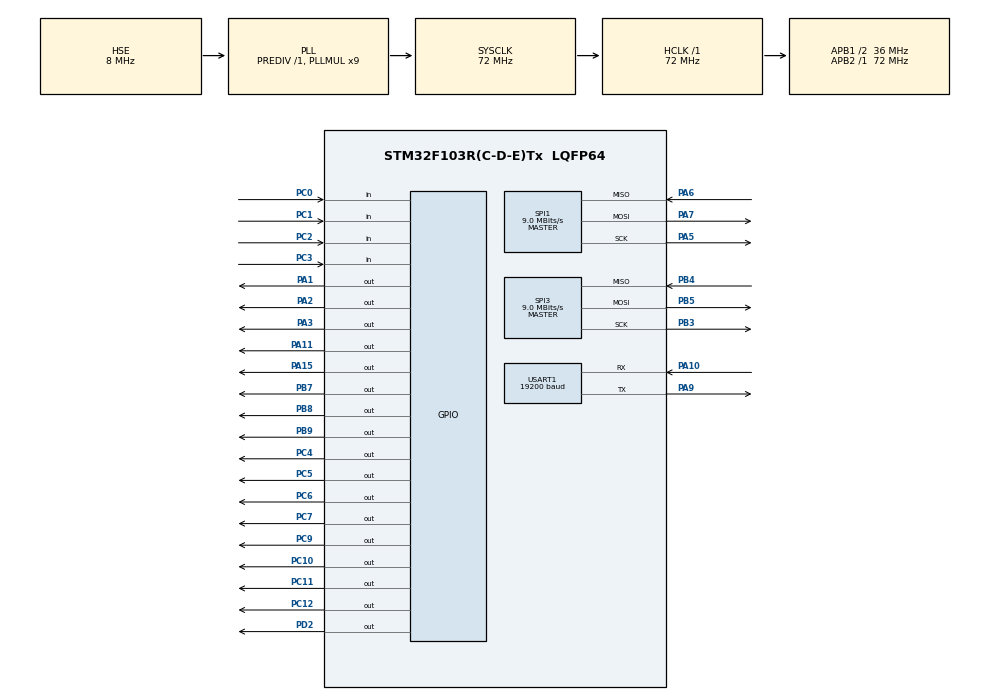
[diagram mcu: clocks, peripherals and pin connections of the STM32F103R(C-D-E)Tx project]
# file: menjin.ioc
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Mcu.Family=STM32F1
Mcu.Name=STM32F103R(C-D-E)Tx
Mcu.Package=LQFP64
NVIC.PriorityGroup=NVIC_PRIORITYGROUP_4
NVIC.RTC_IRQn=true\:0\:0\:false\:false\:true\:true\:true
NVIC.SPI1_IRQn=true\:6\:0\:true\:false\:true\:true\:true
NVIC.SPI3_IRQn=true\:5\:0\:true\:false\:true\:true\:true
NVIC.USART1_IRQn=true\:0\:0\:true\:false\:true\:true\:true
PA1.Signal=GPIO_Output
PA10.GPIO_PuPd=GPIO_NOPULL
PA10.Mode=Asynchronous
PA10.Signal=USART1_RX
PA11.GPIO_PuPd=GPIO_NOPULL
PA11.PinState=GPIO_PIN_RESET
PA11.Signal=GPIO_Output
PA13.Mode=Serial_Wire
PA13.Signal=SYS_JTMS-SWDIO
PA14.Mode=Serial_Wire
PA14.Signal=SYS_JTCK-SWCLK
PA15.PinState=GPIO_PIN_SET
PA15.Signal=GPIO_Output
PA2.Signal=GPIO_Output
PA3.Signal=GPIO_Output
PA5.Mode=Full_Duplex_Master
PA5.Signal=SPI1_SCK
PA6.Mode=Full_Duplex_Master
PA6.Signal=SPI1_MISO
PA7.Mode=Full_Duplex_Master
PA7.Signal=SPI1_MOSI
PA9.Mode=Asynchronous
PA9.Signal=USART1_TX
PB3.Mode=Full_Duplex_Master
PB3.Signal=SPI3_SCK
PB4.Mode=Full_Duplex_Master
PB4.Signal=SPI3_MISO
PB5.Mode=Full_Duplex_Master
PB5.Signal=SPI3_MOSI
PB7.PinState=GPIO_PIN_SET
PB7.Signal=GPIO_Output
PB8.PinState=GPIO_PIN_SET
PB8.Signal=GPIO_Output
PB9.PinState=GPIO_PIN_SET
PB9.Signal=GPIO_Output
PC0.Signal=GPIO_Input
PC1.Signal=GPIO_Input
PC10.PinState=GPIO_PIN_SET
PC10.Signal=GPIO_Output
PC11.PinState=GPIO_PIN_SET
PC11.Signal=GPIO_Output
PC12.Signal=GPIO_Output
PC14-OSC32_IN.Mode=LSE-External-Oscillator
PC14-OSC32_IN.Signal=RCC_OSC32_IN
PC15-OSC32_OUT.Mode=LSE-External-Oscillator
PC15-OSC32_OUT.Signal=RCC_OSC32_OUT
PC2.Signal=GPIO_Input
PC3.Signal=GPIO_Input
PC4.PinState=GPIO_PIN_SET
PC4.Signal=GPIO_Output
PC5.PinState=GPIO_PIN_SET
PC5.Signal=GPIO_Output
PC6.PinState=GPIO_PIN_SET
PC6.Signal=GPIO_Output
PC7.Signal=GPIO_Output
PC9.Signal=GPIO_Output
PD0-OSC_IN.Mode=HSE-External-Oscillator
PD0-OSC_IN.Signal=RCC_OSC_IN
PD1-OSC_OUT.Mode=HSE-External-Oscillator
PD1-OSC_OUT.Signal=RCC_OSC_OUT
PD2.PinState=GPIO_PIN_RESET
PD2.Signal=GPIO_Output
ProjectManager.HeapSize=0x200
ProjectManager.StackSize=0x400
ProjectManager.TargetToolchain=MDK-ARM V5
RCC.AHBFreq_Value=72000000
RCC.APB1CLKDivider=RCC_HCLK_DIV2
RCC.APB1Freq_Value=36000000
RCC.APB1TimFreq_Value=72000000
RCC.APB2Freq_Value=72000000
RCC.APB2TimFreq_Value=72000000
RCC.HCLKFreq_Value=72000000
RCC.PLLMUL=RCC_PLL_MUL9
RCC.PLLSourceVirtual=RCC_PLLSOURCE_HSE
RCC.RTCClockSelection=RCC_RTCCLKSOURCE_LSE
RCC.SYSCLKFreq_VALUE=72000000
RCC.SYSCLKSource=RCC_SYSCLKSOURCE_PLLCLK
RCC.USBFreq_Value=72000000
RTC.Date=3
RTC.Month=RTC_MONTH_MAY
RTC.WeekDay=RTC_WEEKDAY_MONDAY
RTC.Year=21
SPI1.BaudRatePrescaler=SPI_BAUDRATEPRESCALER_8
SPI1.CalculateBaudRate=9.0 MBits/s
SPI1.Direction=SPI_DIRECTION_2LINES
SPI1.Mode=SPI_MODE_MASTER
SPI1.VirtualType=VM_MASTER
SPI3.BaudRatePrescaler=SPI_BAUDRATEPRESCALER_4
SPI3.CalculateBaudRate=9.0 MBits/s
SPI3.Direction=SPI_DIRECTION_2LINES
SPI3.Mode=SPI_MODE_MASTER
SPI3.VirtualType=VM_MASTER
USART1.BaudRate=19200
USART1.VirtualMode=VM_ASYNC
VP_RTC_VS_RTC_Activate.Mode=RTC_Enabled
VP_RTC_VS_RTC_Calendar.Mode=RTC_Calendar
board=custom

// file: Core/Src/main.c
/* USER CODE BEGIN Header */
/**
  ******************************************************************************
  * @file           : main.c
  * @brief          : Main program body
  ******************************************************************************
  * @attention
  *
  * <h2><center>&copy; Copyright (c) 2021 STMicroelectronics.
  * All rights reserved.</center></h2>
  *
  * This software component is licensed by ST under BSD 3-Clause license,
  * the "License"; You may not use this file except in compliance with the
  * License. You may obtain a copy of the License at:
  *                        opensource.org/licenses/BSD-3-Clause
  *
  ******************************************************************************
  */

/***************************************************************
Copyright  SIEE OF HUE All rights reserved.
文件名		: main.c
作者	  	: 张博钊
版本	   	: V1.0
描述	   	: 主函数、初始化
其他	   	: 无
电话 	   	: 13229321127
日志	   	: 初版V1.0 2021/4/23 张博钊创建
***************************************************************/

/* USER CODE END Header */
#include "main.h"

/* USER CODE BEGIN Includes */
#include "rc522.h"
#include "communication.h"
#include "key.h"
#include "lcd.h"
#include "gui.h"
#include "stmflash.h"

/* USER CODE END Includes */

RTC_HandleTypeDef hrtc;

SPI_HandleTypeDef hspi1;
SPI_HandleTypeDef hspi3;

UART_HandleTypeDef huart1;

void SystemClock_Config(void);
void day_night_judge(void);
static void MX_GPIO_Init(void);
static void MX_SPI1_Init(void);
static void MX_SPI3_Init(void);
static void MX_USART1_UART_Init(void);
static void MX_RTC_Init(void);

/* USER CODE BEGIN 0 */
RTC_TimeTypeDef Time = {0};
RTC_DateTypeDef Date = {0};
unsigned int car_num;
unsigned char lcd_switch_flag = 0;//LCD开关标志位  0：灭 1：常量 2：亮一分钟
char lcd_switch_min = 100;//记录按下按键时的分钟
extern uint8_t rec_done_flag;
extern LORA_COM lora_com;
extern uint8_t net_id;
extern unsigned char temp[4];
extern unsigned char set_password_flag;
extern unsigned char adjust_time_flag;

/* USER CODE END 0 */

int main(void)
{
  /* USER CODE BEGIN 1 */
	unsigned char get_time_err = 0;//获取时间错误次数
	unsigned char get_time_flag = 0;//LCD显示时间或主界面标志位
	unsigned char key_value;//键值
	unsigned char get_time_send[9] = {0xaa,0x00,0x00,0x07,0x08,0x08,0x93,0xc7,0x55};//获取时间协议帧
  unsigned char string[50];//LCD显示字符串变量
	unsigned int 	times;//延时时间变量
  /* USER CODE END 1 */

  /* MCU Configuration--------------------------------------------------------*/

  /* Reset of all peripherals, Initializes the Flash interface and the Systick. */
  HAL_Init();

  /* Configure the system clock */
  SystemClock_Config();

  /* Initialize all configured peripherals */
  MX_GPIO_Init();
  MX_SPI1_Init();
  MX_SPI3_Init();
  MX_USART1_UART_Init();
  MX_RTC_Init();
  /* USER CODE BEGIN 2 */
	flash_init();
	rc522_init();
	LCD_Init();	//液晶屏初始化
	HAL_GPIO_WritePin(GPIOC, GPIO_PIN_9, GPIO_PIN_RESET);
	net_id = read_netid();
	get_time_send[2] = net_id;
	__HAL_UART_ENABLE_IT(&huart1,UART_IT_RXNE);
	HAL_Delay(200);
	LCD_Clear(BLACK);
  /* USER CODE END 2 */

  /* Infinite loop */
  while (1)
  {

    /* USER CODE BEGIN 3 */
		HAL_Delay(10);
		times++;
		if(times%10 == 0)//指示运行灯
		{
			if(HAL_GPIO_ReadPin(GPIOB,GPIO_PIN_9) == GPIO_PIN_RESET)
				HAL_GPIO_WritePin(GPIOB, GPIO_PIN_9, GPIO_PIN_SET);
			else
				HAL_GPIO_WritePin(GPIOB, GPIO_PIN_9, GPIO_PIN_RESET);

		}

		if(!adjust_time_flag&&net_id != 0xff)//开机获取时间 若15秒内未校准，则校准超时，不再主动获取时间 若未配置网络号，不查询
		{
				if(get_time_flag)//如果此设备未配置设备地址，但上电后配置了
				{
					get_time_send[2] = net_id;
					get_time_flag = 0; //显示获取时间界面
					LCD_Clear(BLACK);
				}
				Gui_StrCenter(0,60,WHITE,BLACK,"get time...",16,0);

				for(uint8_t i = 0; i< 9; i++)
					printf("%c",get_time_send[i]);

				HAL_Delay(1000);
				HAL_Delay(1000);
				HAL_Delay(1000);
				HAL_Delay(1000);
				HAL_Delay(1000);

					get_time_err++;

			if(get_time_err > 5)
			{
				LCD_Clear(BLACK);
				Gui_StrCenter(0,60,WHITE,BLACK,"get time error!",16,0);
				HAL_Delay(1000);
				adjust_time_flag = 1;//开机调整时间功能结束
			}
		}
		else//已经校准了时间:获取RTC时间并显示在LCD屏上
		{
			if(!get_time_flag) //清屏 显示主界面
			{
				display_main_gui();
				get_time_flag = 1;
			}

			if(times%20)
			{
				HAL_RTC_GetTime(&hrtc, &Time, RTC_FORMAT_BCD);//获取RTC时间
				HAL_RTC_GetDate(&hrtc, &Date, RTC_FORMAT_BCD);//获取RTC日期

				day_night_judge();

				if(set_password_flag == 0 && lcd_switch_flag)
				{
					sprintf(string,"%02x",Time.Hours);
					Show_Str(50,40,WHITE,BLACK,string,80,0);

					Show_Str(130,30,WHITE,BLACK,":",80,0);

					sprintf(string,"%02x",Time.Minutes);
					Show_Str(170,40,WHITE,BLACK,string,80,0);

					sprintf(string,"%02x",Time.Seconds);
					Show_Str(260,76,WHITE,BLACK,string,32,0);

					sprintf(string,"20%02x-%02x-%02x",Date.Year, Date.Month, Date.Date);
					Show_Str(10,220,WHITE,BLACK,string,16,0);
					display_week(Date.WeekDay);
				}
			}
		}

		if(rc522_work(&car_num))//轮询读卡
		{
			set_password_flag = 0;

			data_led();
			//printf("read car num10: %u\r\n", car_num);//打印10进制卡号
			//printf("read car num16: %02x %02x %02x %02x\r\n", temp[0],temp[1],temp[2],temp[3]);//打印16进制卡号

			if(search_cardid(car_num))//如果flash中有这个卡号
			{
				lock_control(1);//1:开门
				send_cardid(0);//0:succeed
				//printf("door open");
			}
			else//没有这个卡号
			{
				beep(0);//0：响三声
				send_cardid(1);//1:fail
				lcd_switch(1);//亮屏
				LCD_Clear(BLACK);
				Gui_StrCenter(0,60,WHITE,BLACK,"Unknown car",FRONT_SIZE,0);
				//printf("unknown cardid");
				HAL_Delay(1000);
				display_main_gui();
			}

		}

		if(rec_done_flag)//接收到lora数据
		{
			lora_cmd_judge(&lora_com);//处理lora接收到的数据
			rec_done_flag = 0;
			data_led();
		}

		if(set_password_flag == 0) //如果在主界面 扫描按键
		{
			key_value = key_scan();//获取键值
			if(key_value != 0x0d)//如果按下 蜂鸣器响
			{
			 if(!lcd_switch_flag) //如果在黑屏时按下
			 {
				lcd_switch_flag = 2;
				lcd_switch_min  = Time.Minutes;
			 }
			 HAL_GPIO_WritePin(GPIOC, GPIO_PIN_12, GPIO_PIN_SET);
				HAL_Delay(100);
			 HAL_GPIO_WritePin(GPIOC, GPIO_PIN_12, GPIO_PIN_RESET);
			}
			 manage_key_value(key_value);//处理键值
		}

		if(set_password_flag == 1)//如果在密码操作界面 扫描按键
		{
			key_value = key_scan();//获取键值
			if(key_value != 0x0d)//如果按下 蜂鸣器响
			{
			 if(!lcd_switch_flag) //如果在黑屏时按下
			 {
				lcd_switch_flag = 2;
				lcd_switch_min  = Time.Minutes;
			 }
			 HAL_GPIO_WritePin(GPIOC, GPIO_PIN_12, GPIO_PIN_SET);
			 HAL_Delay(100);
			 HAL_GPIO_WritePin(GPIOC, GPIO_PIN_12, GPIO_PIN_RESET);
			}
			set_password(key_value);//处理键值
		}

  }

  /* USER CODE END 3 */
}

void SystemClock_Config(void)
{
  RCC_OscInitTypeDef RCC_OscInitStruct = {0};
  RCC_ClkInitTypeDef RCC_ClkInitStruct = {0};
  RCC_PeriphCLKInitTypeDef PeriphClkInit = {0};

  /** Initializes the RCC Oscillators according to the specified parameters
  * in the RCC_OscInitTypeDef structure.
  */
  RCC_OscInitStruct.OscillatorType = RCC_OSCILLATORTYPE_HSE|RCC_OSCILLATORTYPE_LSE;
  RCC_OscInitStruct.HSEState = RCC_HSE_ON;
  RCC_OscInitStruct.HSEPredivValue = RCC_HSE_PREDIV_DIV1;
  RCC_OscInitStruct.LSEState = RCC_LSE_ON;
  RCC_OscInitStruct.HSIState = RCC_HSI_ON;
  RCC_OscInitStruct.PLL.PLLState = RCC_PLL_ON;
  RCC_OscInitStruct.PLL.PLLSource = RCC_PLLSOURCE_HSE;
  RCC_OscInitStruct.PLL.PLLMUL = RCC_PLL_MUL9;
  if (HAL_RCC_OscConfig(&RCC_OscInitStruct) != HAL_OK)
  {
    Error_Handler();
  }
  /** Initializes the CPU, AHB and APB buses clocks
  */
  RCC_ClkInitStruct.ClockType = RCC_CLOCKTYPE_HCLK|RCC_CLOCKTYPE_SYSCLK
                              |RCC_CLOCKTYPE_PCLK1|RCC_CLOCKTYPE_PCLK2;
  RCC_ClkInitStruct.SYSCLKSource = RCC_SYSCLKSOURCE_PLLCLK;
  RCC_ClkInitStruct.AHBCLKDivider = RCC_SYSCLK_DIV1;
  RCC_ClkInitStruct.APB1CLKDivider = RCC_HCLK_DIV2;
  RCC_ClkInitStruct.APB2CLKDivider = RCC_HCLK_DIV1;

  if (HAL_RCC_ClockConfig(&RCC_ClkInitStruct, FLASH_LATENCY_2) != HAL_OK)
  {
    Error_Handler();
  }
  PeriphClkInit.PeriphClockSelection = RCC_PERIPHCLK_RTC;
  PeriphClkInit.RTCClockSelection = RCC_RTCCLKSOURCE_LSE;
  if (HAL_RCCEx_PeriphCLKConfig(&PeriphClkInit) != HAL_OK)
  {
    Error_Handler();
  }
}

static void MX_RTC_Init(void)
{

  RTC_TimeTypeDef sTime = {0};
  RTC_DateTypeDef DateToUpdate = {0};

  /** Initialize RTC Only
  */
  hrtc.Instance = RTC;
  hrtc.Init.AsynchPrediv = RTC_AUTO_1_SECOND;
  hrtc.Init.OutPut = RTC_OUTPUTSOURCE_ALARM;
  if (HAL_RTC_Init(&hrtc) != HAL_OK)
  {
    Error_Handler();
  }

  /** Initialize RTC and set the Time and Date
  */
  sTime.Hours = 0x0;
  sTime.Minutes = 0x0;
  sTime.Seconds = 0x0;

  if (HAL_RTC_SetTime(&hrtc, &sTime, RTC_FORMAT_BCD) != HAL_OK)
  {
    Error_Handler();
  }
  DateToUpdate.WeekDay = RTC_WEEKDAY_MONDAY;
  DateToUpdate.Month = RTC_MONTH_MAY;
  DateToUpdate.Date = 0x3;
  DateToUpdate.Year = 0x21;

  if (HAL_RTC_SetDate(&hrtc, &DateToUpdate, RTC_FORMAT_BCD) != HAL_OK)
  {
    Error_Handler();
  }

}

static void MX_SPI1_Init(void)
{

  /* SPI1 parameter configuration*/
  hspi1.Instance = SPI1;
  hspi1.Init.Mode = SPI_MODE_MASTER;
  hspi1.Init.Direction = SPI_DIRECTION_2LINES;
  hspi1.Init.DataSize = SPI_DATASIZE_8BIT;
  hspi1.Init.CLKPolarity = SPI_POLARITY_LOW;
  hspi1.Init.CLKPhase = SPI_PHASE_1EDGE;
  hspi1.Init.NSS = SPI_NSS_SOFT;
  hspi1.Init.BaudRatePrescaler = SPI_BAUDRATEPRESCALER_8;
  hspi1.Init.FirstBit = SPI_FIRSTBIT_MSB;
  hspi1.Init.TIMode = SPI_TIMODE_DISABLE;
  hspi1.Init.CRCCalculation = SPI_CRCCALCULATION_DISABLE;
  hspi1.Init.CRCPolynomial = 10;
  if (HAL_SPI_Init(&hspi1) != HAL_OK)
  {
    Error_Handler();
  }

}

static void MX_SPI3_Init(void)
{

  /* SPI3 parameter configuration*/
  hspi3.Instance = SPI3;
  hspi3.Init.Mode = SPI_MODE_MASTER;
  hspi3.Init.Direction = SPI_DIRECTION_2LINES;
  hspi3.Init.DataSize = SPI_DATASIZE_8BIT;
  hspi3.Init.CLKPolarity = SPI_POLARITY_LOW;
  hspi3.Init.CLKPhase = SPI_PHASE_1EDGE;
  hspi3.Init.NSS = SPI_NSS_SOFT;
  hspi3.Init.BaudRatePrescaler = SPI_BAUDRATEPRESCALER_4;
  hspi3.Init.FirstBit = SPI_FIRSTBIT_MSB;
  hspi3.Init.TIMode = SPI_TIMODE_DISABLE;
  hspi3.Init.CRCCalculation = SPI_CRCCALCULATION_DISABLE;
  hspi3.Init.CRCPolynomial = 10;
  if (HAL_SPI_Init(&hspi3) != HAL_OK)
  {
    Error_Handler();
  }

}

static void MX_USART1_UART_Init(void)
{

  huart1.Instance = USART1;
  huart1.Init.BaudRate = 19200;
  huart1.Init.WordLength = UART_WORDLENGTH_8B;
  huart1.Init.StopBits = UART_STOPBITS_1;
  huart1.Init.Parity = UART_PARITY_NONE;
  huart1.Init.Mode = UART_MODE_TX_RX;
  huart1.Init.HwFlowCtl = UART_HWCONTROL_NONE;
  huart1.Init.OverSampling = UART_OVERSAMPLING_16;
  if (HAL_UART_Init(&huart1) != HAL_OK)
  {
    Error_Handler();
  }

}

static void MX_GPIO_Init(void)
{
  GPIO_InitTypeDef GPIO_InitStruct = {0};

  /* GPIO Ports Clock Enable */
  __HAL_RCC_GPIOC_CLK_ENABLE();
  __HAL_RCC_GPIOD_CLK_ENABLE();
  __HAL_RCC_GPIOA_CLK_ENABLE();
  __HAL_RCC_GPIOB_CLK_ENABLE();

  /*Configure GPIO pin Output Level */
  HAL_GPIO_WritePin(GPIOA, GPIO_PIN_1|GPIO_PIN_2|GPIO_PIN_3|GPIO_PIN_11, GPIO_PIN_RESET);

  /*Configure GPIO pin Output Level */
  HAL_GPIO_WritePin(GPIOC, GPIO_PIN_4|GPIO_PIN_5|GPIO_PIN_6|GPIO_PIN_10
                          |GPIO_PIN_11, GPIO_PIN_SET);

  /*Configure GPIO pin Output Level */
  HAL_GPIO_WritePin(GPIOC, GPIO_PIN_7|GPIO_PIN_9|GPIO_PIN_12, GPIO_PIN_RESET);

  /*Configure GPIO pin Output Level */
  HAL_GPIO_WritePin(GPIOA, GPIO_PIN_15, GPIO_PIN_SET);

  /*Configure GPIO pin Output Level */
  HAL_GPIO_WritePin(GPIOD, GPIO_PIN_2, GPIO_PIN_RESET);

  /*Configure GPIO pin Output Level */
  HAL_GPIO_WritePin(GPIOB, GPIO_PIN_7|GPIO_PIN_8|GPIO_PIN_9, GPIO_PIN_SET);

  /*Configure GPIO pins : PC0 PC1 PC2 PC3 */
  GPIO_InitStruct.Pin = GPIO_PIN_0|GPIO_PIN_1|GPIO_PIN_2|GPIO_PIN_3;
  GPIO_InitStruct.Mode = GPIO_MODE_INPUT;
  //GPIO_InitStruct.Pull = GPIO_NOPULL;  //浮空 （板子焊上拉电阻）
	GPIO_InitStruct.Pull = GPIO_PULLUP;		//上拉  （板子未焊上拉电阻）
  HAL_GPIO_Init(GPIOC, &GPIO_InitStruct);

  /*Configure GPIO pins : PA1 PA2 PA3 PA11
                           PA15 */
  GPIO_InitStruct.Pin = GPIO_PIN_1|GPIO_PIN_2|GPIO_PIN_3|GPIO_PIN_11
                          |GPIO_PIN_15;
  GPIO_InitStruct.Mode = GPIO_MODE_OUTPUT_PP;
  GPIO_InitStruct.Pull = GPIO_NOPULL;
  GPIO_InitStruct.Speed = GPIO_SPEED_FREQ_LOW;
  HAL_GPIO_Init(GPIOA, &GPIO_InitStruct);

  /*Configure GPIO pins : PC4 PC5 PC6 PC7
                           PC9 PC10 PC11 PC12 */
  GPIO_InitStruct.Pin = GPIO_PIN_4|GPIO_PIN_5|GPIO_PIN_6|GPIO_PIN_7
                          |GPIO_PIN_9|GPIO_PIN_10|GPIO_PIN_11|GPIO_PIN_12;
  GPIO_InitStruct.Mode = GPIO_MODE_OUTPUT_PP;
  GPIO_InitStruct.Pull = GPIO_NOPULL;
  GPIO_InitStruct.Speed = GPIO_SPEED_FREQ_LOW;
  HAL_GPIO_Init(GPIOC, &GPIO_InitStruct);

  /*Configure GPIO pin : PD2 */
  GPIO_InitStruct.Pin = GPIO_PIN_2;
  GPIO_InitStruct.Mode = GPIO_MODE_OUTPUT_PP;
  GPIO_InitStruct.Pull = GPIO_NOPULL;
  GPIO_InitStruct.Speed = GPIO_SPEED_FREQ_LOW;
  HAL_GPIO_Init(GPIOD, &GPIO_InitStruct);

  /*Configure GPIO pins : PB7 PB8 PB9 */
  GPIO_InitStruct.Pin = GPIO_PIN_7|GPIO_PIN_8|GPIO_PIN_9;
  GPIO_InitStruct.Mode = GPIO_MODE_OUTPUT_PP;
  GPIO_InitStruct.Pull = GPIO_NOPULL;
  GPIO_InitStruct.Speed = GPIO_SPEED_FREQ_LOW;
  HAL_GPIO_Init(GPIOB, &GPIO_InitStruct);

}

/* USER CODE BEGIN 4 */
void day_night_judge(void)
{
	if(lcd_switch_flag == 2)
	{
		if((lcd_switch_min >= 0) && (lcd_switch_min <= 0x57))//59-57=2  2-0=2
		{
			if((Time.Minutes - lcd_switch_min) >= 2)//如果距上次按键过去了至少一分钟
			{
				lcd_switch_flag = 0;
				lcd_switch_min = 100;
			}
		}
		else if(lcd_switch_min == 0x58)
		{
			if((lcd_switch_min - Time.Minutes) == 0x58)//58-0=58
			{
				lcd_switch_flag = 0;
				lcd_switch_min = 100;
			}
		}
		else if(lcd_switch_min == 0x59)
		{
			if((lcd_switch_min - Time.Minutes) <= 0x58)//59-1=58
			{
				lcd_switch_flag = 0;
				lcd_switch_min = 100;
			}
		}
	}

	if((Time.Hours >= 0x8) && (Time.Hours < 0x17))//白天
		lcd_switch_flag = 1;
	else if(lcd_switch_flag != 2)
		lcd_switch_flag = 0;

	if((lcd_switch_flag == 1) || (lcd_switch_flag == 2)) //早八点到下午五点亮屏 或者按键亮屏
	{
		lcd_switch(1);
	}
	else
	{
		lcd_switch(0);
	}
}
/* USER CODE END 4 */

void Error_Handler(void)
{
}

/************************ (C) COPYRIGHT STMicroelectronics *****END OF FILE****/
